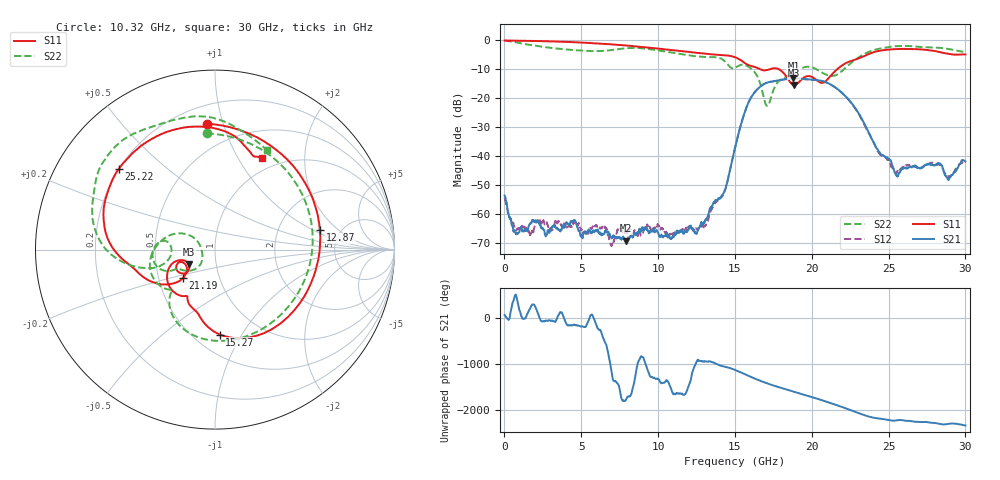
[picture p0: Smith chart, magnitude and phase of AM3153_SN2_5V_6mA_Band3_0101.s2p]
!Agilent Technologies,E8364B,MY43040894,A.07.50.67
!Agilent E8364B: A.07.50.67
!Date: Wednesday, May 13, 2020 06:21:34
!Correction: S11(Full 2 Port(1,2))
!S21(Full 2 Port(1,2))
!S12(Full 2 Port(1,2))
!S22(Full 2 Port(1,2))
!S2P File: Measurements: S11, S21, S12, S22:
# Hz S  dB  R 50
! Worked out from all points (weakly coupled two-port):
!   1601 points, 10 MHz to 30 GHz, reference 50 ohm
!   highest |S21| = -13.11 dB at 18.81 GHz (marker M1); lowest = -69.2 dB at 7.901 GHz (marker M2)
!   lowest |S11| = -15.5 dB at 18.87 GHz (marker M3), VSWR 1.40, Z = 36.8 - j6.06 ohm
!   |S11| at or under -10 dB: 16.64 GHz to 17.25 GHz (610.9 MHz wide, 3.61 % of centre); 17.86 GHz to 21.65 GHz (3.791 GHz wide, 19.2 % of centre)
!   |S22| runs from -22.7 to -0.1 dB; largest |S21 - S12| = 0.0038
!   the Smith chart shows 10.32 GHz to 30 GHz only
!   S11 on the Smith chart (normalised r, x): 10.32 GHz: 0.32, +0.89; 12.87 GHz: 3.51, +1.18; 15.27 GHz: 0.66, -0.81; 21.19 GHz: 0.67, -0.22; 25.22 GHz: 0.20, +0.35; 30 GHz: 0.84, +1.26
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1e7  -0.08 -2.0  -53.60 71.5  -54.35 -141.9  -0.06 -4.8
1.190856e9  -0.18 -34.3  -65.60 -13.2  -64.12 104.0  -1.20 -80.4
2.615381e9  -0.32 -73.5  -66.49 -68.7  -63.59 165.2  -2.34 -157.6
5.014581e9  -0.79 -134.4  -67.43 -178.1  -65.25 -114.2  -3.56 89.2
6.6078e9  -1.27 -172.5  -65.84 156.8  -65.00 41.9  -3.58 -9.0
7.901119e9  -1.79 156.7  -69.24 4.5  -66.18 30.8  -2.77 -112.3
8.819562e9  -2.24 133.9  -65.20 -156.6  -66.44 -135.1  -2.70 -179.6
1.001916e10  -2.87 102.1  -66.78 102.2  -63.77 136.6  -3.50 109.9
1.031906e10  -3.05 93.7  -67.91 25.4  -65.20 91.4  -3.75 94.1
1.164987e10  -3.80 53.0  -66.63 121.6  -65.30 -147.7  -4.91 26.4
1.286821e10  -4.52 10.5  -63.19 137.8  -63.86 144.6  -5.72 -38.3
1.427399e10  -5.14 -42.8  -52.72 22.8  -52.68 29.6  -6.92 -119.3
1.5005e10  -5.84 -75.3  -37.21 -53.5  -37.16 -52.9  -9.50 -138.1
1.526741e10  -6.49 -86.8  -31.56 -89.5  -31.50 -89.0  -8.72 -146.5
1.71043e10  -10.25 -122.4  -14.59 11.9  -14.63 11.9  -22.68 -169.7
1.880998e10  -15.48 -154.0  -13.11 -167.9  -13.18 -167.2  -11.50 -154.0
1.886621e10  -15.53 -151.4  -13.11 -173.6  -13.18 -173.0  -11.31 -154.3
2.000958e10  -12.66 -157.4  -13.57 72.2  -13.60 73.1  -9.31 179.4
2.119044e10  -12.48 -138.4  -15.15 -55.5  -15.17 -54.6  -12.27 178.0
2.501416e10  -3.19 145.0  -40.98 -70.3  -41.60 -67.6  -2.33 150.6
2.522034e10  -3.11 140.1  -42.98 -80.8  -43.88 -75.5  -2.14 146.4
3e10  -4.86 62.7  -41.86 170.2  -41.56 166.2  -4.09 62.4
